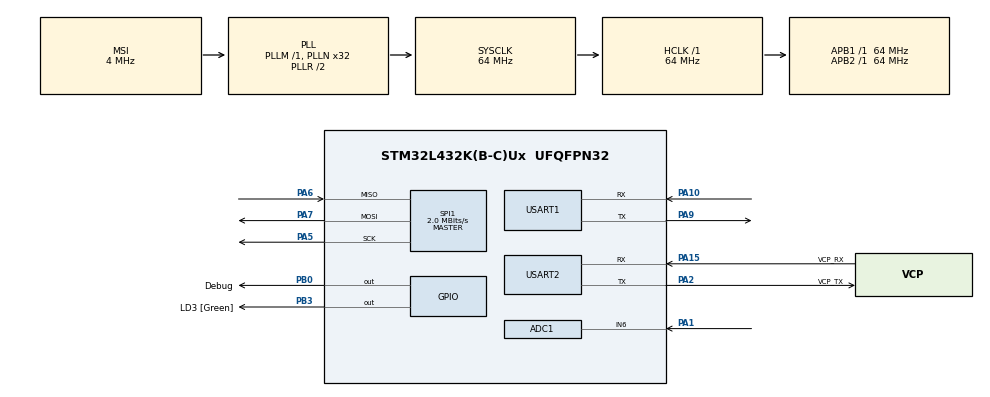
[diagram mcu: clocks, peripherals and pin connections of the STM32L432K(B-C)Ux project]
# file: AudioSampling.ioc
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ADC1.Channel-0\#ChannelRegularConversion=ADC_CHANNEL_6
ADC1.ExternalTrigConv=ADC_EXTERNALTRIG_T1_TRGO
ADC1.NbrOfConversionFlag=1
ADC1.OffsetNumber-0\#ChannelRegularConversion=ADC_OFFSET_NONE
ADC1.Rank-0\#ChannelRegularConversion=1
ADC1.Resolution=ADC_RESOLUTION_8B
ADC1.SamplingTime-0\#ChannelRegularConversion=ADC_SAMPLETIME_2CYCLES_5
ADC1.master=1
Dma.Request0=SPI1_TX
Dma.SPI1_TX.0.Direction=DMA_MEMORY_TO_PERIPH
Dma.SPI1_TX.0.Instance=DMA1_Channel3
Dma.SPI1_TX.0.MemDataAlignment=DMA_MDATAALIGN_BYTE
Dma.SPI1_TX.0.MemInc=DMA_MINC_ENABLE
Dma.SPI1_TX.0.Mode=DMA_NORMAL
Dma.SPI1_TX.0.PeriphDataAlignment=DMA_PDATAALIGN_BYTE
Dma.SPI1_TX.0.PeriphInc=DMA_PINC_DISABLE
Dma.SPI1_TX.0.Priority=DMA_PRIORITY_LOW
Mcu.Family=STM32L4
Mcu.Name=STM32L432K(B-C)Ux
Mcu.Package=UFQFPN32
NVIC.ADC1_IRQn=true\:0\:0\:false\:false\:true\:true\:true\:true
NVIC.DMA1_Channel3_IRQn=true\:0\:0\:false\:false\:true\:false\:true\:true
NVIC.PriorityGroup=NVIC_PRIORITYGROUP_4
NVIC.SPI1_IRQn=true\:0\:0\:false\:false\:true\:true\:true\:true
NVIC.TIM1_BRK_TIM15_IRQn=true\:0\:0\:false\:false\:true\:true\:true\:true
NVIC.TIM1_CC_IRQn=true\:0\:0\:false\:false\:true\:true\:true\:true
NVIC.TIM1_TRG_COM_IRQn=true\:0\:0\:false\:false\:true\:true\:true\:true
NVIC.TIM1_UP_TIM16_IRQn=true\:0\:0\:false\:false\:true\:true\:true\:true
PA0.GPIO_Label=MCO [High speed clock in]
PA0.Mode=HSE-External-Clock-Source-for-LittleOrca
PA0.Signal=RCC_CK_IN
PA1.Signal=ADCx_IN6
PA10.Mode=Asynchronous
PA10.Signal=USART1_RX
PA13\ (JTMS-SWDIO).GPIO_Label=SWDIO
PA13\ (JTMS-SWDIO).Mode=Serial_Wire
PA13\ (JTMS-SWDIO).Signal=SYS_JTMS-SWDIO
PA14\ (JTCK-SWCLK).GPIO_Label=SWCLK
PA14\ (JTCK-SWCLK).Mode=Serial_Wire
PA14\ (JTCK-SWCLK).Signal=SYS_JTCK-SWCLK
PA15\ (JTDI).GPIO_Label=VCP_RX
PA15\ (JTDI).Mode=Asynchronous
PA15\ (JTDI).Signal=USART2_RX
PA2.GPIO_Label=VCP_TX
PA2.Mode=Asynchronous
PA2.Signal=USART2_TX
PA5.Mode=Full_Duplex_Master
PA5.Signal=SPI1_SCK
PA6.Mode=Full_Duplex_Master
PA6.Signal=SPI1_MISO
PA7.Mode=Full_Duplex_Master
PA7.Signal=SPI1_MOSI
PA9.Mode=Asynchronous
PA9.Signal=USART1_TX
PB0.GPIO_Label=Debug
PB0.Signal=GPIO_Output
PB3\ (JTDO-TRACESWO).GPIO_Label=LD3 [Green]
PB3\ (JTDO-TRACESWO).Signal=GPIO_Output
PC14-OSC32_IN\ (PC14).Mode=LSE-External-Oscillator
PC14-OSC32_IN\ (PC14).Signal=RCC_OSC32_IN
PC15-OSC32_OUT\ (PC15).Mode=LSE-External-Oscillator
PC15-OSC32_OUT\ (PC15).Signal=RCC_OSC32_OUT
ProjectManager.HeapSize=0x200
ProjectManager.StackSize=0x400
ProjectManager.TargetToolchain=STM32CubeIDE
RCC.ADCFreq_Value=32000000
RCC.AHBFreq_Value=64000000
RCC.APB1Freq_Value=64000000
RCC.APB1TimFreq_Value=64000000
RCC.APB2Freq_Value=64000000
RCC.APB2TimFreq_Value=64000000
RCC.CortexFreq_Value=64000000
RCC.HCLKFreq_Value=64000000
RCC.HSE_VALUE=8000000
RCC.HSI16_VALUE=16000000
RCC.HSI48_VALUE=48000000
RCC.HSI_VALUE=16000000
RCC.MSI_VALUE=4000000
RCC.PLLMUL=RCC_PLLMUL_4
RCC.PLLN=32
RCC.PLLSAI1N=16
RCC.SYSCLKFreq_VALUE=64000000
RCC.SYSCLKSource=RCC_SYSCLKSOURCE_PLLCLK
RCC.USBFreq_Value=32000000
RCC.VCOOutputFreq_Value=128000000
SH.ADCx_IN6.0=ADC1_IN6,IN6-Single-Ended
SPI1.BaudRatePrescaler=SPI_BAUDRATEPRESCALER_32
SPI1.CLKPolarity=SPI_POLARITY_LOW
SPI1.CalculateBaudRate=2.0 MBits/s
SPI1.DataSize=SPI_DATASIZE_8BIT
SPI1.Direction=SPI_DIRECTION_2LINES
SPI1.Mode=SPI_MODE_MASTER
SPI1.NSSPMode=SPI_NSS_PULSE_ENABLE
SPI1.VirtualType=VM_MASTER
TIM1.Period=23
TIM1.Prescaler=31
TIM1.TIM_MasterOutputTrigger=TIM_TRGO_UPDATE
USART1.VirtualMode-Asynchronous=VM_ASYNC
USART2.VirtualMode-Asynchronous=VM_ASYNC
VP_TIM1_VS_ClockSourceINT.Mode=Internal
board=NUCLEO-L432KC

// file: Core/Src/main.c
/* USER CODE BEGIN Header */
/**
  ******************************************************************************
  * @file           : main.c
  * @brief          : Main program body
  ******************************************************************************
  * @attention
  *
  * Copyright (c) 2025 STMicroelectronics.
  * All rights reserved.
  *
  * This software is licensed under terms that can be found in the LICENSE file
  * in the root directory of this software component.
  * If no LICENSE file comes with this software, it is provided AS-IS.
  *
  ******************************************************************************
  */
/* USER CODE END Header */
#include "main.h"

/* USER CODE BEGIN Includes */
#include <stdio.h>
#include <stdlib.h>
/* USER CODE END Includes */

ADC_HandleTypeDef hadc1;

SPI_HandleTypeDef hspi1;
DMA_HandleTypeDef hdma_spi1_tx;

TIM_HandleTypeDef htim1;

UART_HandleTypeDef huart1;
UART_HandleTypeDef huart2;

void SystemClock_Config(void);
static void MX_GPIO_Init(void);
static void MX_DMA_Init(void);
static void MX_USART2_UART_Init(void);
static void MX_ADC1_Init(void);
static void MX_USART1_UART_Init(void);
static void MX_TIM1_Init(void);
static void MX_SPI1_Init(void);

/* USER CODE BEGIN 0 */

uint8_t data;
uint16_t prev_value[3] = {0};
uint16_t averaged_value = 0;

uint8_t sendSample = 0;

uint8_t spiReady = 1;

void HAL_SPI_TxCpltCallback(SPI_HandleTypeDef *hspi)
{
	spiReady = 1;
	Debug_GPIO_Port->ODR ^= Debug_Pin;
}

void HAL_ADC_ConvCpltCallback(ADC_HandleTypeDef *hadc)
{
	if (spiReady)
	{
		data = (uint8_t)HAL_ADC_GetValue(&hadc1);

		spiReady = 0;
		HAL_SPI_Transmit_IT(&hspi1, &data, 1);

	}
}

/* USER CODE END 0 */

int main(void)
{

  /* MCU Configuration--------------------------------------------------------*/

  /* Reset of all peripherals, Initializes the Flash interface and the Systick. */
  HAL_Init();

  /* Configure the system clock */
  SystemClock_Config();

  /* Initialize all configured peripherals */
  MX_GPIO_Init();
  MX_DMA_Init();
  MX_USART2_UART_Init();
  MX_ADC1_Init();
  MX_USART1_UART_Init();
  MX_TIM1_Init();
  MX_SPI1_Init();
  /* USER CODE BEGIN 2 */

  HAL_ADC_Start_IT(&hadc1);
  HAL_TIM_Base_Start(&htim1);

  /* USER CODE END 2 */

  /* Infinite loop */
  /* USER CODE BEGIN WHILE */

  while (1)
  {
	  //HAL_ADC_PollForConversion(&hadc1, HAL_MAX_DELAY);

//	  uint16_t* sampledValue = (uint16_t*)malloc(255 * sizeof(uint16_t));
	  /*data[0] = HAL_ADC_GetValue(&hadc1);
	  //HAL_GPIO_WritePin(LD3_GPIO_Port, LD3_Pin,1);
	  averaged_value = (prev_value[0] + prev_value[1] + prev_value[2] +data[0])/4;
	  prev_value[2] = prev_value[1];
	  prev_value[1] = prev_value[0];
	  prev_value[0] = data[0];
	  HAL_SPI_Transmit(&hspi1, (uint8_t *)&averaged_value, 1, HAL_MAX_DELAY);
	  //HAL_SPI_Transmit(&hspi1, (uint8_t*)data[0], 2, HAL_MAX_DELAY);

	  HAL_ADC_Start(&hadc1);*/

	  //HAL_GPIO_WritePin(LD3_GPIO_Port, LD3_Pin,0);

	  //HAL_ADC_Start(&hadc1);
    /* USER CODE END WHILE */

  }
}

void SystemClock_Config(void)
{
  RCC_OscInitTypeDef RCC_OscInitStruct = {0};
  RCC_ClkInitTypeDef RCC_ClkInitStruct = {0};

  /** Configure the main internal regulator output voltage
  */
  if (HAL_PWREx_ControlVoltageScaling(PWR_REGULATOR_VOLTAGE_SCALE1) != HAL_OK)
  {
    Error_Handler();
  }

  /** Configure LSE Drive Capability
  */
  HAL_PWR_EnableBkUpAccess();
  __HAL_RCC_LSEDRIVE_CONFIG(RCC_LSEDRIVE_LOW);

  /** Initializes the RCC Oscillators according to the specified parameters
  * in the RCC_OscInitTypeDef structure.
  */
  RCC_OscInitStruct.OscillatorType = RCC_OSCILLATORTYPE_LSE|RCC_OSCILLATORTYPE_MSI;
  RCC_OscInitStruct.LSEState = RCC_LSE_ON;
  RCC_OscInitStruct.MSIState = RCC_MSI_ON;
  RCC_OscInitStruct.MSICalibrationValue = 0;
  RCC_OscInitStruct.MSIClockRange = RCC_MSIRANGE_6;
  RCC_OscInitStruct.PLL.PLLState = RCC_PLL_ON;
  RCC_OscInitStruct.PLL.PLLSource = RCC_PLLSOURCE_MSI;
  RCC_OscInitStruct.PLL.PLLM = 1;
  RCC_OscInitStruct.PLL.PLLN = 32;
  RCC_OscInitStruct.PLL.PLLP = RCC_PLLP_DIV7;
  RCC_OscInitStruct.PLL.PLLQ = RCC_PLLQ_DIV2;
  RCC_OscInitStruct.PLL.PLLR = RCC_PLLR_DIV2;
  if (HAL_RCC_OscConfig(&RCC_OscInitStruct) != HAL_OK)
  {
    Error_Handler();
  }

  /** Initializes the CPU, AHB and APB buses clocks
  */
  RCC_ClkInitStruct.ClockType = RCC_CLOCKTYPE_HCLK|RCC_CLOCKTYPE_SYSCLK
                              |RCC_CLOCKTYPE_PCLK1|RCC_CLOCKTYPE_PCLK2;
  RCC_ClkInitStruct.SYSCLKSource = RCC_SYSCLKSOURCE_PLLCLK;
  RCC_ClkInitStruct.AHBCLKDivider = RCC_SYSCLK_DIV1;
  RCC_ClkInitStruct.APB1CLKDivider = RCC_HCLK_DIV1;
  RCC_ClkInitStruct.APB2CLKDivider = RCC_HCLK_DIV1;

  if (HAL_RCC_ClockConfig(&RCC_ClkInitStruct, FLASH_LATENCY_3) != HAL_OK)
  {
    Error_Handler();
  }

  /** Enable MSI Auto calibration
  */
  HAL_RCCEx_EnableMSIPLLMode();
}

static void MX_ADC1_Init(void)
{

  ADC_ChannelConfTypeDef sConfig = {0};

  /** Common config
  */
  hadc1.Instance = ADC1;
  hadc1.Init.ClockPrescaler = ADC_CLOCK_ASYNC_DIV1;
  hadc1.Init.Resolution = ADC_RESOLUTION_8B;
  hadc1.Init.DataAlign = ADC_DATAALIGN_RIGHT;
  hadc1.Init.ScanConvMode = ADC_SCAN_DISABLE;
  hadc1.Init.EOCSelection = ADC_EOC_SINGLE_CONV;
  hadc1.Init.LowPowerAutoWait = DISABLE;
  hadc1.Init.ContinuousConvMode = DISABLE;
  hadc1.Init.NbrOfConversion = 1;
  hadc1.Init.DiscontinuousConvMode = DISABLE;
  hadc1.Init.ExternalTrigConv = ADC_EXTERNALTRIG_T1_TRGO;
  hadc1.Init.ExternalTrigConvEdge = ADC_EXTERNALTRIGCONVEDGE_RISING;
  hadc1.Init.DMAContinuousRequests = DISABLE;
  hadc1.Init.Overrun = ADC_OVR_DATA_PRESERVED;
  hadc1.Init.OversamplingMode = DISABLE;
  if (HAL_ADC_Init(&hadc1) != HAL_OK)
  {
    Error_Handler();
  }

  /** Configure Regular Channel
  */
  sConfig.Channel = ADC_CHANNEL_6;
  sConfig.Rank = ADC_REGULAR_RANK_1;
  sConfig.SamplingTime = ADC_SAMPLETIME_2CYCLES_5;
  sConfig.SingleDiff = ADC_SINGLE_ENDED;
  sConfig.OffsetNumber = ADC_OFFSET_NONE;
  sConfig.Offset = 0;
  if (HAL_ADC_ConfigChannel(&hadc1, &sConfig) != HAL_OK)
  {
    Error_Handler();
  }

}

static void MX_SPI1_Init(void)
{

  /* SPI1 parameter configuration*/
  hspi1.Instance = SPI1;
  hspi1.Init.Mode = SPI_MODE_MASTER;
  hspi1.Init.Direction = SPI_DIRECTION_2LINES;
  hspi1.Init.DataSize = SPI_DATASIZE_8BIT;
  hspi1.Init.CLKPolarity = SPI_POLARITY_LOW;
  hspi1.Init.CLKPhase = SPI_PHASE_1EDGE;
  hspi1.Init.NSS = SPI_NSS_SOFT;
  hspi1.Init.BaudRatePrescaler = SPI_BAUDRATEPRESCALER_32;
  hspi1.Init.FirstBit = SPI_FIRSTBIT_MSB;
  hspi1.Init.TIMode = SPI_TIMODE_DISABLE;
  hspi1.Init.CRCCalculation = SPI_CRCCALCULATION_DISABLE;
  hspi1.Init.CRCPolynomial = 7;
  hspi1.Init.CRCLength = SPI_CRC_LENGTH_DATASIZE;
  hspi1.Init.NSSPMode = SPI_NSS_PULSE_ENABLE;
  if (HAL_SPI_Init(&hspi1) != HAL_OK)
  {
    Error_Handler();
  }

}

static void MX_TIM1_Init(void)
{

  TIM_ClockConfigTypeDef sClockSourceConfig = {0};
  TIM_MasterConfigTypeDef sMasterConfig = {0};

  htim1.Instance = TIM1;
  htim1.Init.Prescaler = 31;
  htim1.Init.CounterMode = TIM_COUNTERMODE_UP;
  htim1.Init.Period = 23;
  htim1.Init.ClockDivision = TIM_CLOCKDIVISION_DIV1;
  htim1.Init.RepetitionCounter = 0;
  htim1.Init.AutoReloadPreload = TIM_AUTORELOAD_PRELOAD_DISABLE;
  if (HAL_TIM_Base_Init(&htim1) != HAL_OK)
  {
    Error_Handler();
  }
  sClockSourceConfig.ClockSource = TIM_CLOCKSOURCE_INTERNAL;
  if (HAL_TIM_ConfigClockSource(&htim1, &sClockSourceConfig) != HAL_OK)
  {
    Error_Handler();
  }
  sMasterConfig.MasterOutputTrigger = TIM_TRGO_UPDATE;
  sMasterConfig.MasterOutputTrigger2 = TIM_TRGO2_RESET;
  sMasterConfig.MasterSlaveMode = TIM_MASTERSLAVEMODE_DISABLE;
  if (HAL_TIMEx_MasterConfigSynchronization(&htim1, &sMasterConfig) != HAL_OK)
  {
    Error_Handler();
  }

}

static void MX_USART1_UART_Init(void)
{

  huart1.Instance = USART1;
  huart1.Init.BaudRate = 115200;
  huart1.Init.WordLength = UART_WORDLENGTH_8B;
  huart1.Init.StopBits = UART_STOPBITS_1;
  huart1.Init.Parity = UART_PARITY_NONE;
  huart1.Init.Mode = UART_MODE_TX_RX;
  huart1.Init.HwFlowCtl = UART_HWCONTROL_NONE;
  huart1.Init.OverSampling = UART_OVERSAMPLING_16;
  huart1.Init.OneBitSampling = UART_ONE_BIT_SAMPLE_DISABLE;
  huart1.AdvancedInit.AdvFeatureInit = UART_ADVFEATURE_NO_INIT;
  if (HAL_UART_Init(&huart1) != HAL_OK)
  {
    Error_Handler();
  }

}

static void MX_USART2_UART_Init(void)
{

  huart2.Instance = USART2;
  huart2.Init.BaudRate = 115200;
  huart2.Init.WordLength = UART_WORDLENGTH_8B;
  huart2.Init.StopBits = UART_STOPBITS_1;
  huart2.Init.Parity = UART_PARITY_NONE;
  huart2.Init.Mode = UART_MODE_TX_RX;
  huart2.Init.HwFlowCtl = UART_HWCONTROL_NONE;
  huart2.Init.OverSampling = UART_OVERSAMPLING_16;
  huart2.Init.OneBitSampling = UART_ONE_BIT_SAMPLE_DISABLE;
  huart2.AdvancedInit.AdvFeatureInit = UART_ADVFEATURE_NO_INIT;
  if (HAL_UART_Init(&huart2) != HAL_OK)
  {
    Error_Handler();
  }

}

static void MX_DMA_Init(void)
{

  /* DMA controller clock enable */
  __HAL_RCC_DMA1_CLK_ENABLE();

  /* DMA interrupt init */
  /* DMA1_Channel3_IRQn interrupt configuration */
  HAL_NVIC_SetPriority(DMA1_Channel3_IRQn, 0, 0);
  HAL_NVIC_EnableIRQ(DMA1_Channel3_IRQn);

}

static void MX_GPIO_Init(void)
{
  GPIO_InitTypeDef GPIO_InitStruct = {0};

  /* GPIO Ports Clock Enable */
  __HAL_RCC_GPIOC_CLK_ENABLE();
  __HAL_RCC_GPIOA_CLK_ENABLE();
  __HAL_RCC_GPIOB_CLK_ENABLE();

  /*Configure GPIO pin Output Level */
  HAL_GPIO_WritePin(GPIOB, Debug_Pin|LD3_Pin, GPIO_PIN_RESET);

  /*Configure GPIO pins : Debug_Pin LD3_Pin */
  GPIO_InitStruct.Pin = Debug_Pin|LD3_Pin;
  GPIO_InitStruct.Mode = GPIO_MODE_OUTPUT_PP;
  GPIO_InitStruct.Pull = GPIO_NOPULL;
  GPIO_InitStruct.Speed = GPIO_SPEED_FREQ_LOW;
  HAL_GPIO_Init(GPIOB, &GPIO_InitStruct);

  /* USER CODE BEGIN MX_GPIO_Init_2 */
  GPIO_InitStruct.Pin = GPIO_PIN_5 | GPIO_PIN_6 | GPIO_PIN_7;
  GPIO_InitStruct.Mode = GPIO_MODE_AF_PP;
  GPIO_InitStruct.Pull = GPIO_NOPULL;
  GPIO_InitStruct.Speed = GPIO_SPEED_FREQ_HIGH;
  HAL_GPIO_Init(GPIOA, &GPIO_InitStruct);
  /* USER CODE END MX_GPIO_Init_2 */
}

void Error_Handler(void)
{
  __disable_irq();
  while (1)
  {
  }
}
